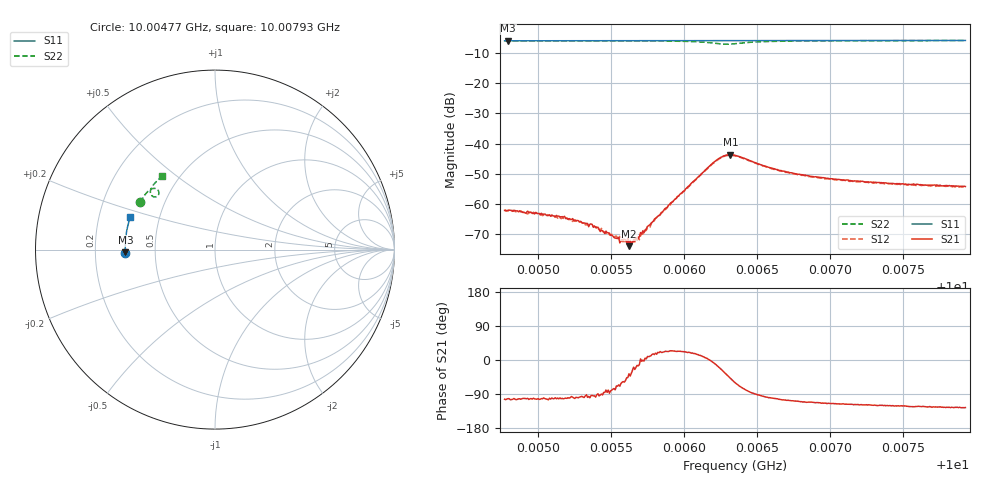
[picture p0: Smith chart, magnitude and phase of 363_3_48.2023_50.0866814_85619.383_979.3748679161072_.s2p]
#  HZ  S  RI  R  50.00
! Rohde & Schwarz Vector Network Analyzer
! Rohde-Schwarz,ZNB20-2Port,1311601062101988,3.16
! Created: UTC 3/20/2024, 11:52:18 AM
! freq[Hz]  re:S11  im:S11  re:S21  im:S21  re:S12  im:S12  re:S22  im:S22
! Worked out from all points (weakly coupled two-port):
!   401 points, 10.00477 GHz to 10.00793 GHz, reference 50 ohm
!   highest |S21| = -43.68 dB at 10.00632 GHz (marker M1); lowest = -73.9 dB at 10.00562 GHz (marker M2)
!   lowest |S11| = -6.0 dB at 10.00479 GHz (marker M3), VSWR 2.99, Z = 16.7 - j0.695 ohm
!   |S11| at or under -10 dB: nowhere
!   |S22| runs from -7.2 to -6.0 dB; largest |S21 - S12| = 0.0004
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1.0004769e10  -0.499 -0.0172  -0.000184 -0.000762  -0.000122 -0.000802  -0.4171 0.264
1.0004793e10  -0.4988 -0.0156  -0.000162 -0.000761  -0.000148 -0.000777  -0.4164 0.2654
1.0004959e10  -0.4994 -0.00471  -0.000161 -0.00068  -0.000139 -0.00069  -0.4107 0.2753
1.0005164e10  -0.4998 0.00851  -0.000121 -0.000608  -8e-05 -0.000588  -0.4028 0.2873
1.0005298e10  -0.4999 0.0173  -5.09e-05 -0.000489  -4.14e-05 -0.000495  -0.3975 0.2954
1.0005369e10  -0.4999 0.0218  -2.58e-05 -0.000461  -1.75e-05 -0.000439  -0.3945 0.2996
1.000548e10  -0.4997 0.029  6.16e-05 -0.000329  4.04e-05 -0.00034  -0.3896 0.3062
1.0005543e10  -0.4997 0.0331  9.64e-05 -0.000251  9.57e-05 -0.000254  -0.3865 0.3101
1.0005598e10  -0.4994 0.0368  0.000149 -0.000203  0.000168 -0.000169  -0.3835 0.3135
1.0005622e10  -0.4995 0.0382  0.000162 -0.000119  0.000162 -0.000146  -0.3824 0.3149
1.0005638e10  -0.4994 0.0392  0.000181 -0.000128  0.000199 -0.000134  -0.3815 0.316
1.0005677e10  -0.4991 0.0419  0.000244 -6.23e-05  0.000272 -5.97e-05  -0.3791 0.3185
1.0005701e10  -0.4991 0.0433  0.000338 1.72e-05  0.000299 -2.08e-06  -0.378 0.32
1.0005828e10  -0.4985 0.0515  0.000614 0.000214  0.00058 0.000241  -0.3695 0.3281
1.0006199e10  -0.496 0.0753  0.00479 -0.000526  0.00468 -0.000298  -0.3168 0.3299
1.0006254e10  -0.4952 0.0789  0.00542 -0.00248  0.00544 -0.00214  -0.3125 0.3127
1.0006317e10  -0.4949 0.0826  0.00432 -0.00491  0.00447 -0.0046  -0.3261 0.2952
1.0006349e10  -0.4946 0.0845  0.00322 -0.00552  0.00345 -0.00523  -0.3362 0.2934
1.0006618e10  -0.4924 0.1017  -0.000756 -0.00376  -0.00058 -0.00368  -0.3586 0.3321
1.0006878e10  -0.4892 0.1183  -0.00105 -0.00267  -0.000958 -0.00264  -0.3472 0.3548
1.0007408e10  -0.4813 0.1515  -0.00111 -0.00189  -0.00104 -0.0019  -0.3209 0.385
1.0007929e10  -0.4711 0.1834  -0.00113 -0.00159  -0.00106 -0.00159  -0.2944 0.4088
